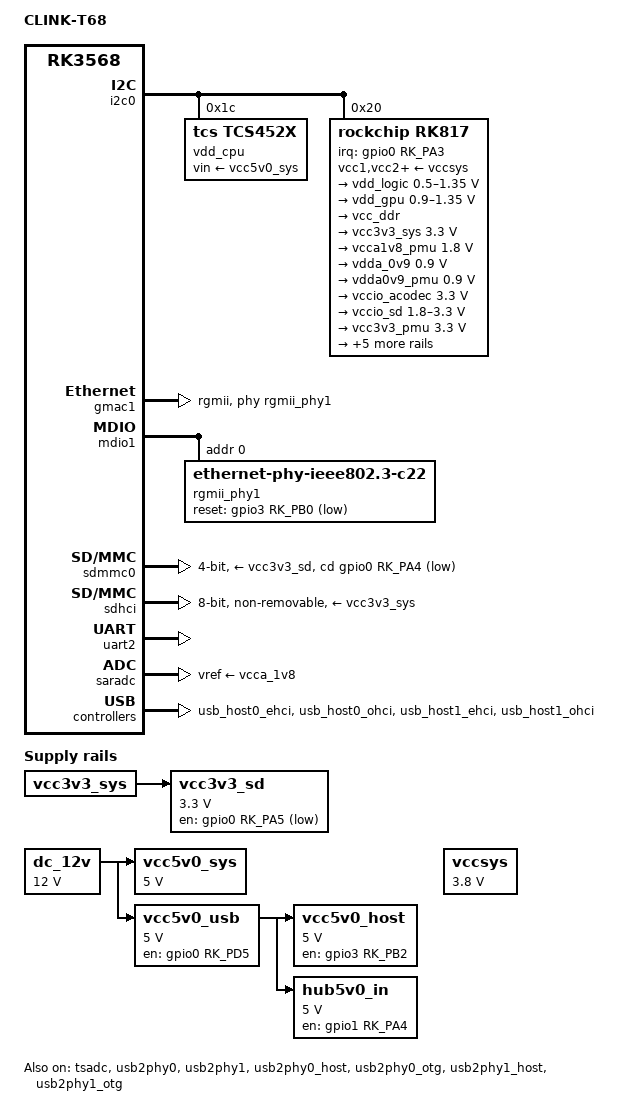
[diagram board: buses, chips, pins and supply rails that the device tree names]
// SPDX-License-Identifier: (GPL-2.0+ OR MIT)
/* Copyright (c) 2026 retro98boy <retro98boy@qq.com> */
/dts-v1/;

#include <dt-bindings/gpio/gpio.h>
#include <dt-bindings/pinctrl/rockchip.h>
#include "rk3568.dtsi"

/ {
	model = "CLINK-T68";
	compatible = "clink,t68", "rockchip,rk3568";

	aliases {
		/delete-property/ ethernet1;
		ethernet0 = &gmac1;
		mmc0 = &sdhci;
		mmc1 = &sdmmc0;
	};

	chosen {
		stdout-path = "serial2:1500000n8";
	};

	dc_12v: regulator-dc-12v {
		compatible = "regulator-fixed";
		regulator-name = "dc_12v";
		regulator-always-on;
		regulator-boot-on;
		regulator-min-microvolt = <12000000>;
		regulator-max-microvolt = <12000000>;
	};

	vccsys: regulator-vccsys {
		compatible = "regulator-fixed";
		regulator-name = "vcc3v8_sys";
		regulator-always-on;
		regulator-boot-on;
		regulator-min-microvolt = <3800000>;
		regulator-max-microvolt = <3800000>;
	};

	vcc3v3_sd: regulator-vcc3v3-sd {
		compatible = "regulator-fixed";
		regulator-name = "vcc3v3_sd";
		regulator-always-on;
		regulator-boot-on;
		regulator-min-microvolt = <3300000>;
		regulator-max-microvolt = <3300000>;
		enable-active-low;
		gpio = <&gpio0 RK_PA5 GPIO_ACTIVE_LOW>;
		vin-supply = <&vcc3v3_sys>;

		regulator-state-mem {
			regulator-off-in-suspend;
		};
	};

	vcc5v0_sys: regulator-vcc5v0-sys {
		compatible = "regulator-fixed";
		regulator-name = "vcc5v0_sys";
		regulator-always-on;
		regulator-boot-on;
		regulator-min-microvolt = <5000000>;
		regulator-max-microvolt = <5000000>;
		vin-supply = <&dc_12v>;
	};

	vcc5v0_usb: regulator-vcc5v0-usb {
		compatible = "regulator-fixed";
		regulator-name = "vcc5v0_usb";
		regulator-always-on;
		regulator-boot-on;
		regulator-min-microvolt = <5000000>;
		regulator-max-microvolt = <5000000>;
		enable-active-high;
		gpio = <&gpio0 RK_PD5 GPIO_ACTIVE_HIGH>;
		vin-supply = <&dc_12v>;

		regulator-state-mem {
			regulator-off-in-suspend;
		};
	};

	vcc5v0_host: regulator-vcc5v0-host {
		compatible = "regulator-fixed";
		regulator-name = "vcc5v0_host";
		regulator-boot-on;
		regulator-always-on;
		regulator-min-microvolt = <5000000>;
		regulator-max-microvolt = <5000000>;
		enable-active-high;
		gpio = <&gpio3 RK_PB2 GPIO_ACTIVE_HIGH>;
		vin-supply = <&vcc5v0_usb>;
	};

	hub5v0_in: regulator-hub5v0-in {
		compatible = "regulator-fixed";
		regulator-name = "hub5v0_in";
		regulator-boot-on;
		regulator-always-on;
		regulator-min-microvolt = <5000000>;
		regulator-max-microvolt = <5000000>;
		enable-active-high;
		gpio = <&gpio1 RK_PA4 GPIO_ACTIVE_HIGH>;
		vin-supply = <&vcc5v0_usb>;

		regulator-state-mem {
			regulator-off-in-suspend;
		};
	};
};

&i2c0 {
	status = "okay";

	vdd_cpu: regulator@1c {
		compatible = "tcs,tcs452x";
		fcs,suspend-voltage-selector = <0x01>;

		reg = <0x1c>;
		regulator-always-on;
		regulator-boot-on;
		regulator-init-microvolt = <900000>;
		regulator-max-microvolt = <1390000>;
		regulator-min-microvolt = <712500>;
		regulator-name = "vdd_cpu";
		regulator-ramp-delay = <2300>;
		vin-supply = <&vcc5v0_sys>;

		regulator-state-mem {
			regulator-off-in-suspend;
		};
	};

	rk817: pmic@20 {
		compatible = "rockchip,rk817";
		reg = <0x20>;
		interrupt-parent = <&gpio0>;
		interrupts = <RK_PA3 IRQ_TYPE_LEVEL_LOW>;
		#clock-cells = <1>;
		clock-output-names = "rk808-clkout1", "rk808-clkout2";
		system-power-controller;
		wakeup-source;
		vcc1-supply = <&vccsys>;
		vcc2-supply = <&vccsys>;
		vcc3-supply = <&vccsys>;
		vcc4-supply = <&vccsys>;
		vcc5-supply = <&vccsys>;
		vcc6-supply = <&vccsys>;
		vcc7-supply = <&vccsys>;
		vcc8-supply = <&vccsys>;
		vcc9-supply = <&vccsys>;
		regulators {

			vdd_logic: DCDC_REG1 {
				regulator-always-on;
				regulator-boot-on;
				regulator-min-microvolt = <500000>;
				regulator-max-microvolt = <1350000>;
				regulator-init-microvolt = <900000>;
				regulator-ramp-delay = <6001>;
				regulator-initial-mode = <2>;
				regulator-name = "vdd_logic";

				regulator-state-mem {
					regulator-off-in-suspend;
				};
			};

			vdd_gpu: DCDC_REG2 {
				regulator-always-on;
				regulator-boot-on;
				regulator-min-microvolt = <900000>;
				regulator-max-microvolt = <1350000>;
				regulator-init-microvolt = <900000>;
				regulator-ramp-delay = <6001>;
				regulator-initial-mode = <2>;
				regulator-name = "vdd_gpu";

				regulator-state-mem {
					regulator-off-in-suspend;
				};
			};

			vcc_ddr: DCDC_REG3 {
				regulator-always-on;
				regulator-boot-on;
				regulator-initial-mode = <2>;
				regulator-name = "vcc_ddr";

				regulator-state-mem {
					regulator-on-in-suspend;
				};
			};

			vcc3v3_sys: DCDC_REG4 {
				regulator-always-on;
				regulator-boot-on;
				regulator-min-microvolt = <3300000>;
				regulator-max-microvolt = <3300000>;
				regulator-initial-mode = <2>;
				regulator-name = "vcc3v3_sys";

				regulator-state-mem {
					regulator-on-in-suspend;
					regulator-suspend-microvolt = <3300000>;
				};
			};

			vcca1v8_pmu: LDO_REG1 {
				regulator-always-on;
				regulator-boot-on;
				regulator-min-microvolt = <1800000>;
				regulator-max-microvolt = <1800000>;
				regulator-name = "vcca1v8_pmu";

				regulator-state-mem {
					regulator-on-in-suspend;
				};
			};

			vdda_0v9: LDO_REG2 {
				regulator-always-on;
				regulator-boot-on;
				regulator-min-microvolt = <900000>;
				regulator-max-microvolt = <900000>;
				regulator-name = "vdda_0v9";

				regulator-state-mem {
					regulator-off-in-suspend;
				};
			};

			vdda0v9_pmu: LDO_REG3 {
				regulator-always-on;
				regulator-boot-on;
				regulator-min-microvolt = <900000>;
				regulator-max-microvolt = <900000>;
				regulator-name = "vdda0v9_pmu";

				regulator-state-mem {
					regulator-on-in-suspend;
					regulator-suspend-microvolt = <900000>;
				};
			};

			vccio_acodec: LDO_REG4 {
				regulator-always-on;
				regulator-boot-on;
				regulator-min-microvolt = <3300000>;
				regulator-max-microvolt = <3300000>;
				regulator-name = "vccio_acodec";

				regulator-state-mem {
					regulator-off-in-suspend;
				};
			};

			vccio_sd: LDO_REG5 {
				regulator-always-on;
				regulator-boot-on;
				regulator-min-microvolt = <1800000>;
				regulator-max-microvolt = <3300000>;
				regulator-name = "vccio_sd";

				regulator-state-mem {
					regulator-off-in-suspend;
				};
			};

			vcc3v3_pmu: LDO_REG6 {
				regulator-always-on;
				regulator-boot-on;
				regulator-min-microvolt = <3300000>;
				regulator-max-microvolt = <3300000>;
				regulator-name = "vcc3v3_pmu";

				regulator-state-mem {
					regulator-on-in-suspend;
					regulator-suspend-microvolt = <3300000>;
				};
			};

			vcca_1v8: LDO_REG7 {
				regulator-always-on;
				regulator-boot-on;
				regulator-min-microvolt = <1800000>;
				regulator-max-microvolt = <1800000>;
				regulator-name = "vcca_1v8";

				regulator-state-mem {
					regulator-off-in-suspend;
				};
			};

			vdda2v8_image: LDO_REG8 {
				regulator-always-on;
				regulator-boot-on;
				regulator-min-microvolt = <2800000>;
				regulator-max-microvolt = <2800000>;
				regulator-name = "vdda2v8_image";

				regulator-state-mem {
					regulator-off-in-suspend;
				};
			};

			vcca1v8_image: LDO_REG9 {
				regulator-always-on;
				regulator-boot-on;
				regulator-min-microvolt = <1800000>;
				regulator-max-microvolt = <1800000>;
				regulator-name = "vcca1v8_image";

				regulator-state-mem {
					regulator-off-in-suspend;
				};
			};

			dcdc_boost: BOOST {
				regulator-always-on;
				regulator-boot-on;
				regulator-min-microvolt = <5000000>;
				regulator-max-microvolt = <5000000>;
				regulator-name = "boost";

				regulator-state-mem {
					regulator-off-in-suspend;
				};
			};

			otg_switch: OTG_SWITCH {
				regulator-name = "otg_switch";

				regulator-state-mem {
					regulator-off-in-suspend;
				};
			};
		};
	};
};

&pmu_io_domains {
	pmuio2-supply = <&vcc3v3_pmu>;
	vccio1-supply = <&vccio_acodec>;
	vccio3-supply = <&vccio_sd>;
	vccio4-supply = <&vcc3v3_pmu>;
	vccio5-supply = <&vcc3v3_sys>;
	vccio6-supply = <&vcca_1v8>;
	vccio7-supply = <&vcc3v3_sys>;
	status = "okay";
};

&gmac1 {
	phy-mode = "rgmii";
	clock_in_out = "output";
	assigned-clocks = <&cru SCLK_GMAC1_RX_TX>, <&cru SCLK_GMAC1>;
	assigned-clock-parents = <&cru SCLK_GMAC1_RGMII_SPEED>;
	assigned-clock-rates = <0>, <125000000>;
	pinctrl-names = "default";
	pinctrl-0 = <&gmac1m1_miim &gmac1m1_tx_bus2 &gmac1m1_rx_bus2
		     &gmac1m1_rgmii_clk &gmac1m1_rgmii_bus>;
	tx_delay = <0x30>;
	rx_delay = <0x20>;
	phy-handle = <&rgmii_phy1>;
	status = "okay";
};

&mdio1 {
	rgmii_phy1: ethernet-phy@0 {
		compatible = "ethernet-phy-ieee802.3-c22";
		reg = <0>;
		reset-gpios = <&gpio3 RK_PB0 GPIO_ACTIVE_LOW>;
		reset-assert-us = <40000>;
		reset-deassert-us = <100000>;
	};
};

&sdmmc0 {
	cd-gpios = <&gpio0 RK_PA4 GPIO_ACTIVE_LOW>;
	no-sdio;
	no-mmc;
	bus-width = <4>;
	cap-mmc-highspeed;
	cap-sd-highspeed;
	disable-wp;
	pinctrl-names = "default";
	pinctrl-0 = <&sdmmc0_bus4 &sdmmc0_clk &sdmmc0_cmd>;
	vmmc-supply = <&vcc3v3_sd>;
	vqmmc-supply = <&vccio_sd>;
	status = "okay";
};

&sdhci {
	bus-width = <8>;
	max-frequency = <200000000>;
	mmc-hs200-1_8v;
	non-removable;
	vmmc-supply = <&vcc3v3_sys>;
	vqmmc-supply = <&vcca_1v8>;
	status = "okay";
};

&uart2 {
	status = "okay";
};

&saradc {
	vref-supply = <&vcca_1v8>;
	status = "okay";
};

&tsadc {
	status = "okay";
};

&usb2phy0 {
	status = "okay";
};

&usb2phy1 {
	status = "okay";
};

&usb2phy0_host {
	phy-supply = <&vcc5v0_host>;
	status = "okay";
};

&usb2phy0_otg {
	vbus-supply = <&otg_switch>;
	status = "okay";
};

&usb2phy1_host {
	phy-supply = <&hub5v0_in>;
	status = "okay";
};

&usb2phy1_otg {
	phy-supply = <&hub5v0_in>;
	status = "okay";
};

&usb_host0_ehci {
	status = "okay";
};

&usb_host0_ohci {
	status = "okay";
};

&usb_host1_ehci {
	status = "okay";
};

&usb_host1_ohci {
	status = "okay";
};
